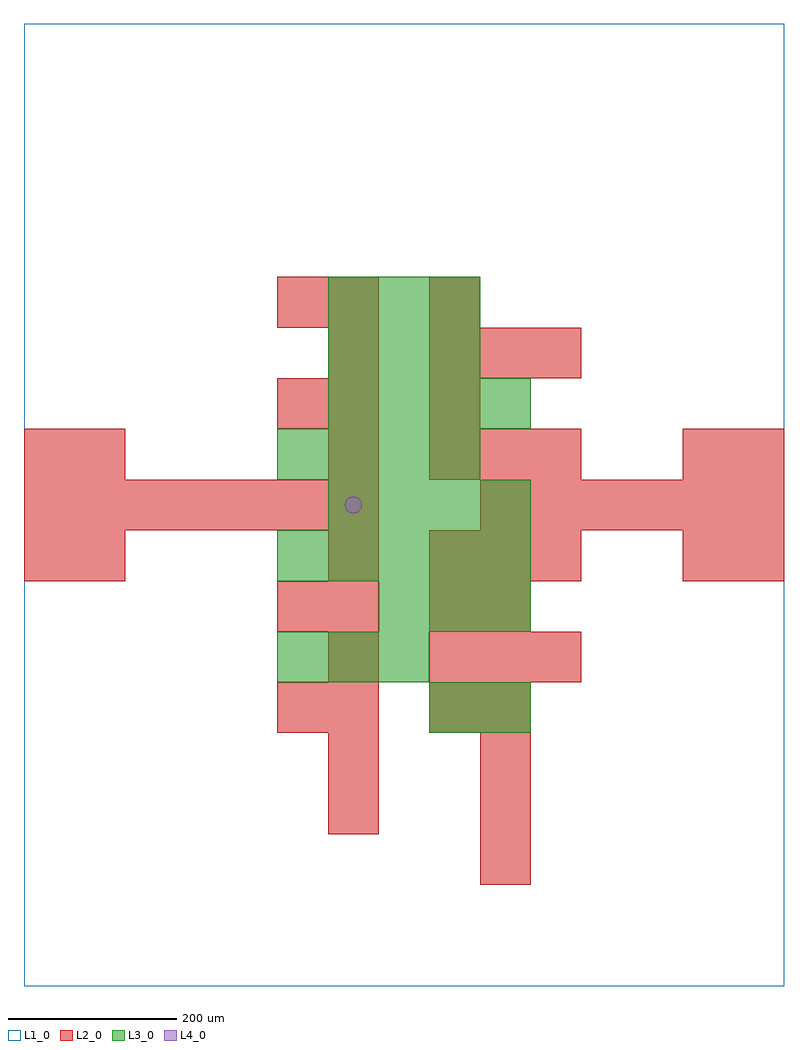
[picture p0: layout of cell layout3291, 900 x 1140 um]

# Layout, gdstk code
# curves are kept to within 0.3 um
import gdstk
lib = gdstk.Library(unit=1e-6, precision=1e-09)
def R(c, l, rs):  # rectangles x0, y0, x1, y1
    for r in rs: c.add(gdstk.rectangle(r[:2], r[2:], *l))
def A(c, l, x, y, w, h, nx, ny, dx, dy):  # array of equal rectangles
    R(c, l, [(x+i*dx, y+j*dy, x+i*dx+w, y+j*dy+h) for i in range(nx) for j in range(ny)])
def P(c, l, *ps):  # polygons
    for p in ps: c.add(gdstk.Polygon(p, *l))
L1_0 = (1, 0)
L2_0 = (2, 0)
L3_0 = (3, 0)
L4_0 = (4, 0)

layout3291 = lib.new_cell('layout3291')
R(layout3291, L1_0, [(0,0,900,1140)])
A(layout3291, L2_0, 540, 120, 60, 60, 1, 4, 0, 60)
A(layout3291, L2_0, 360, 180, 60, 60, 1, 6, 0, 60)
A(layout3291, L2_0, 480, 360, 60, 60, 3, 4, 60, 120)
A(layout3291, L2_0, 0, 540, 60, 60, 7, 1, 60, 0)
A(layout3291, L2_0, 540, 540, 60, 60, 6, 1, 60, 0)
A(layout3291, L2_0, 360, 600, 60, 60, 1, 4, 0, 60)
R(layout3291, L2_0, [(300,300,360,360), (480,300,540,360), (300,420,360,480), (480,420,540,480), (540,420,600,480), (0,480,60,540), (60,480,120,540), (780,480,840,540), (840,480,900,540), (0,600,60,660), (60,600,120,660), (780,600,840,660), (840,600,900,660), (300,660,360,720), (480,660,540,720), (300,780,360,840), (480,780,540,840)])
A(layout3291, L3_0, 300, 360, 60, 60, 3, 1, 60, 0)
A(layout3291, L3_0, 420, 420, 60, 60, 3, 1, 60, 0)
A(layout3291, L3_0, 300, 480, 60, 60, 5, 1, 60, 0)
A(layout3291, L3_0, 360, 540, 60, 60, 4, 2, 60, 120)
A(layout3291, L3_0, 300, 600, 60, 60, 4, 1, 60, 0)
A(layout3291, L3_0, 360, 720, 60, 60, 3, 2, 60, 60)
R(layout3291, L3_0, [(480,300,540,360), (540,300,600,360)])
P(layout3291, L4_0, [(400,570),(399.239,573.827),(397.071,577.071),(393.827,579.239),(390,580),(386.173,579.239),(382.929,577.071),(380.761,573.827),(380,570),(380.761,566.173),(382.929,562.929),(386.173,560.761),(390,560),(393.827,560.761),(397.071,562.929),(399.239,566.173)])

lib.write_gds('layout3291.gds')
